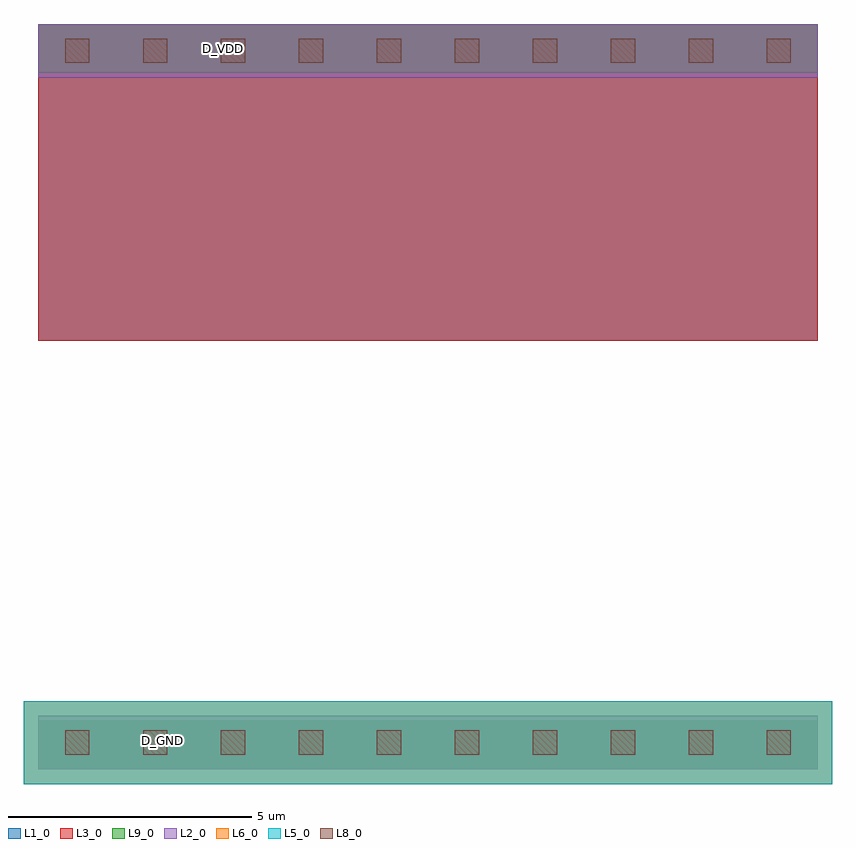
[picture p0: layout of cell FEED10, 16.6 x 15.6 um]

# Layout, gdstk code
import gdstk
lib = gdstk.Library(unit=1e-6, precision=1e-09)
def R(c, l, rs):  # rectangles x0, y0, x1, y1
    for r in rs: c.add(gdstk.rectangle(r[:2], r[2:], *l))
L1_0 = (1, 0)
L2_0 = (2, 0)
L3_0 = (3, 0)
L5_0 = (5, 0)
L6_0 = (6, 0)
L8_0 = (8, 0)
L9_0 = (9, 0)

gridx1 = lib.new_cell('GRIDX1')
R(gridx1, L1_0, [(0,8.8,1.6,15.3)])
R(gridx1, L2_0, [(0,0,1.6,1.1), (0,14.2,1.6,15.3)])
R(gridx1, L3_0, [(0,8.8,1.6,15.3)])
R(gridx1, L5_0, [(0,-0.3,1.6,1.4)])
R(gridx1, L6_0, [(0,-0.3,1.6,1.4)])
R(gridx1, L8_0, [(0.55,0.3,1.05,0.8), (0.55,14.5,1.05,15)])
R(gridx1, L9_0, [(0,0,1.6,1), (0,14.3,1.6,15.3)])

feed10 = lib.new_cell('FEED10')
R(feed10, L1_0, [(0,8.8,1.6,15.3), (14.4,8.8,16,15.3)])
R(feed10, L2_0, [(0,0,1.6,1.1), (14.4,0,16,1.1), (0,14.2,1.6,15.3), (14.4,14.2,16,15.3)])
R(feed10, L3_0, [(0,8.8,1.6,15.3), (14.4,8.8,16,15.3)])
R(feed10, L5_0, [(-0.3,-0.3,1.6,1.4), (14.4,-0.3,16.3,1.4)])
R(feed10, L6_0, [(-0.3,-0.3,1.6,1.4), (14.4,-0.3,16.3,1.4)])
R(feed10, L8_0, [(0.55,0.3,1.05,0.8), (14.95,0.3,15.45,0.8), (0.55,14.5,1.05,15), (14.95,14.5,15.45,15)])
R(feed10, L9_0, [(0,0,1.6,1), (0,0,16,1), (14.4,0,16,1), (0,14.3,1.6,15.3), (0,14.3,16,15.3), (14.4,14.3,16,15.3)])
feed10.add(gdstk.Reference(gridx1, (1.6,0)))
feed10.add(gdstk.Reference(gridx1, (3.2,0)))
feed10.add(gdstk.Reference(gridx1, (4.8,0)))
feed10.add(gdstk.Reference(gridx1, (6.4,0)))
feed10.add(gdstk.Reference(gridx1, (8,0)))
feed10.add(gdstk.Reference(gridx1, (9.6,0)))
feed10.add(gdstk.Reference(gridx1, (11.2,0)))
feed10.add(gdstk.Reference(gridx1, (12.8,0)))
feed10.add(gdstk.Label('D_GND', (2.55,0.6), layer=50, texttype=0))
feed10.add(gdstk.Label('D_VDD', (3.8,14.8), layer=50, texttype=0))

lib.write_gds('FEED10.gds')
